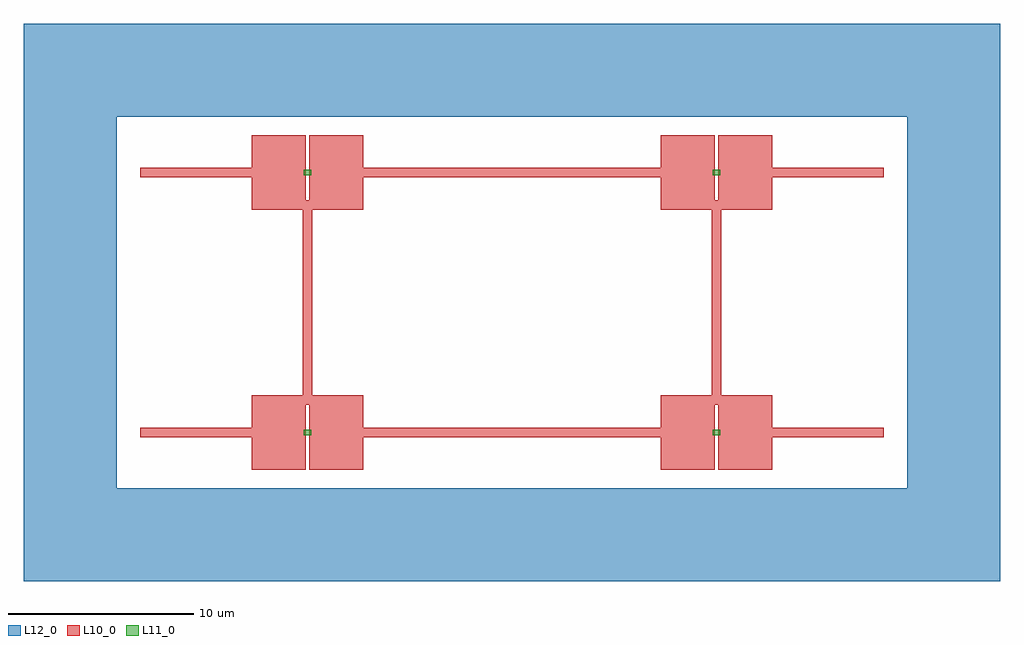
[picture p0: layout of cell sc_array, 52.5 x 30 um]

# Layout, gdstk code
import gdstk
lib = gdstk.Library(unit=1e-6, precision=1e-09)
def R(c, l, rs):  # rectangles x0, y0, x1, y1
    for r in rs: c.add(gdstk.rectangle(r[:2], r[2:], *l))
L10_0 = (10, 0)
L11_0 = (11, 0)
L12_0 = (12, 0)

sc_array = lib.new_cell('sc_array')
R(sc_array, L10_0, [(-14,-9,-11.1,-5), (-10.9,-9,-8,-5), (8,-9,10.9,-5), (11.1,-9,14,-5), (-2.5,-7.25,2.5,-6.75), (-11.25,-5.5,-10.75,5.5), (10.75,-5.5,11.25,5.5), (-14,5,-11.1,9), (-10.9,5,-8,9), (8,5,10.9,9), (11.1,5,14,9), (-2.5,6.75,2.5,7.25)])
R(sc_array, L11_0, [(-11.2,-7.15,-10.8,-6.85), (10.8,-7.15,11.2,-6.85), (-11.2,6.85,-10.8,7.15), (10.8,6.85,11.2,7.15)])
R(sc_array, L12_0, [(-26.25,-15,26.25,-10), (-26.25,-15,-21.25,15), (21.25,-15,26.25,15), (-26.25,10,26.25,15)])
sc_array.add(gdstk.FlexPath([(-14,-7),(-20,-7)], 0.5, ends="flush", simple_path=True, layer=10, datatype=0))  # L10_0
sc_array.add(gdstk.FlexPath([(-8,-7),(-2,-7)], 0.5, ends="flush", simple_path=True, layer=10, datatype=0))  # L10_0
sc_array.add(gdstk.FlexPath([(8,-7),(2,-7)], 0.5, ends="flush", simple_path=True, layer=10, datatype=0))  # L10_0
sc_array.add(gdstk.FlexPath([(14,-7),(20,-7)], 0.5, ends="flush", simple_path=True, layer=10, datatype=0))  # L10_0
sc_array.add(gdstk.FlexPath([(-14,7),(-20,7)], 0.5, ends="flush", simple_path=True, layer=10, datatype=0))  # L10_0
sc_array.add(gdstk.FlexPath([(-8,7),(-2,7)], 0.5, ends="flush", simple_path=True, layer=10, datatype=0))  # L10_0
sc_array.add(gdstk.FlexPath([(8,7),(2,7)], 0.5, ends="flush", simple_path=True, layer=10, datatype=0))  # L10_0
sc_array.add(gdstk.FlexPath([(14,7),(20,7)], 0.5, ends="flush", simple_path=True, layer=10, datatype=0))  # L10_0

lib.write_gds('sc_array.gds')
